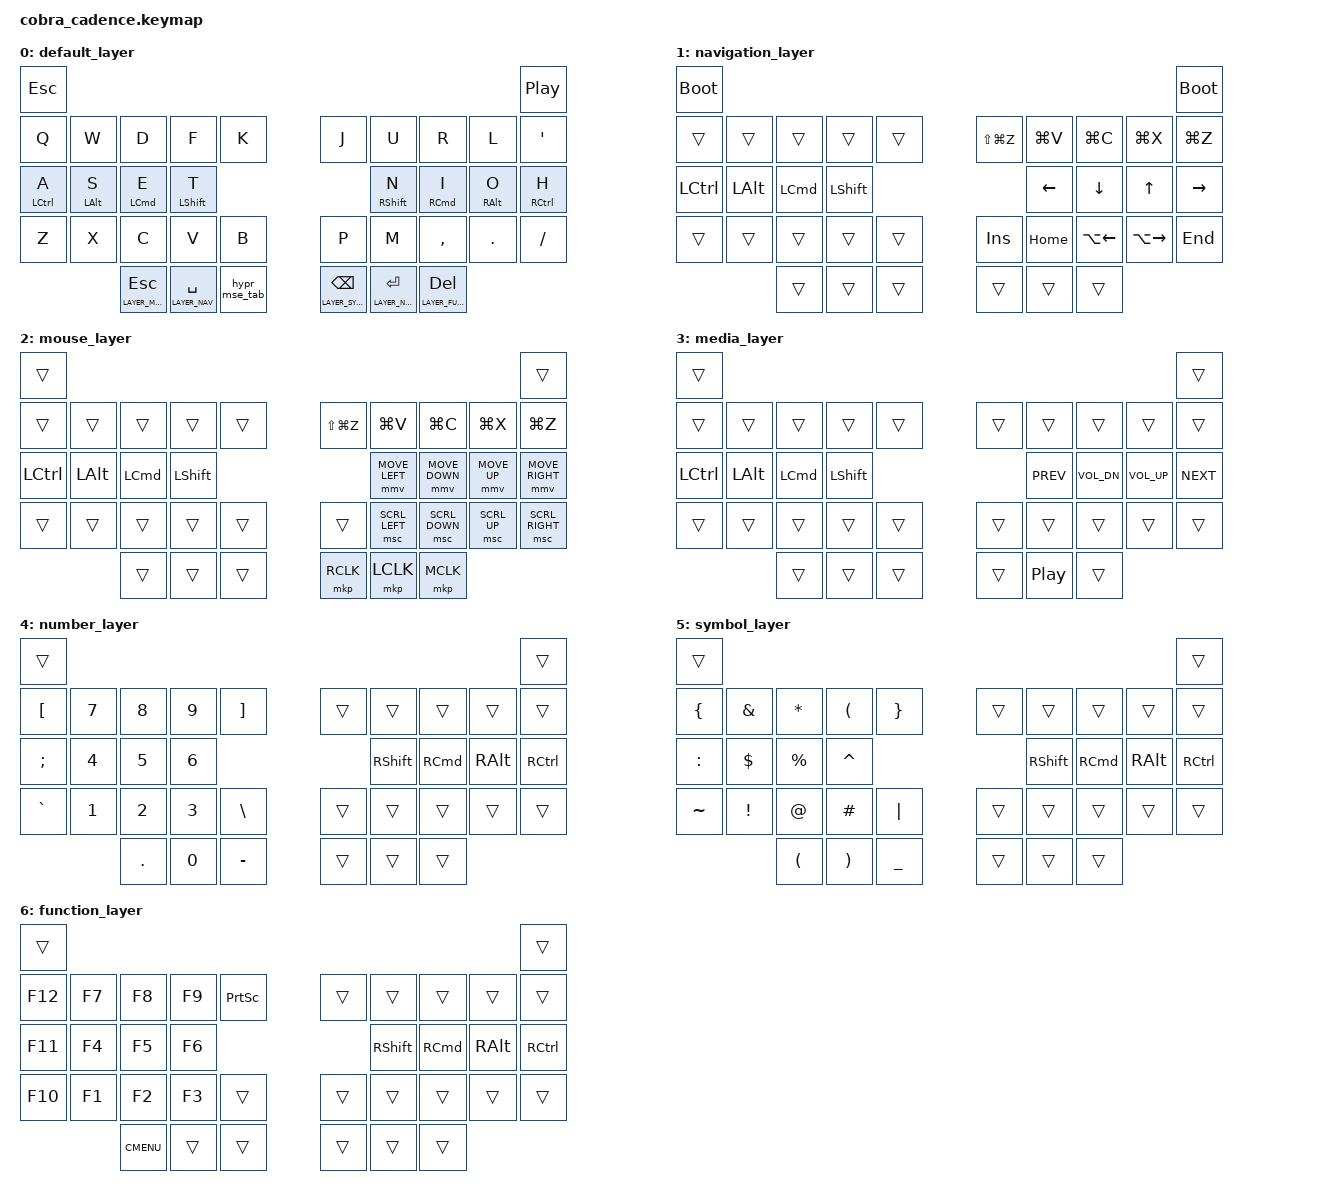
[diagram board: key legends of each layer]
/*
 * Copyright (c) 2025 Tibo Loete
 *
 * SPDX-License-Identifier: MIT
 */

#include <behaviors.dtsi>
#include <dt-bindings/zmk/keys.h>
#include <dt-bindings/zmk/pointing.h>
#include <dt-bindings/zmk/behaviors.h>

// layers
#define LAYER_BASE 0
#define LAYER_NAV 1
#define LAYER_MOUSE 2
#define LAYER_MEDIA 3
#define LAYER_NUMBER 4
#define LAYER_SYMBOL 5
#define LAYER_FUNCTION 6


// ----------------
// shorter keycodes
// ----------------

#define ______ &trans
#define HYPR LC(LS(LA(LGUI)))

// nav & clipboard
#define kp_undo &kp LG(Z)
#define kp_redo &kp LS(LG(Z))
#define kp_copy &kp LG(C)
#define kp_paste &kp LG(V)
#define kp_cut &kp LG(X)
#define kp_wrd_lft &kp LA(LEFT)
#define kp_wrd_rgt &kp LA(RIGHT)

// mouse
#define mouse_left &mmv MOVE_LEFT
#define mouse_down &mmv MOVE_DOWN
#define mouse_up &mmv MOVE_UP
#define mouse_right &mmv MOVE_RIGHT
#define scroll_left &msc SCRL_LEFT
#define scroll_down &msc SCRL_DOWN
#define scroll_up &msc SCRL_UP
#define scroll_right &msc SCRL_RIGHT

// media
#define vol_down &kp C_VOL_DN
#define vol_up &kp C_VOL_UP

// layer tap
#define lt_med_esc &lt LAYER_MEDIA ESC
#define lt_nav_spc &lt LAYER_NAV SPACE
#define lt_mse_tab &lt LAYER_MOUSE TAB
#define lt_sym_bspc &lt LAYER_SYMBOL BSPC
#define lt_num_ent &lt LAYER_NUMBER ENTER
#define lt_fun_del &lt LAYER_FUNCTION DEL

// ----------------


// Using layer taps on thumbs, having quick tap as well helps w/ repeating space/backspace
&lt { quick-tap-ms = <200>; };
&mt {
    flavor = "balanced";
    tapping-term-ms = <120>;
    require-prior-idle-ms = <120>;
    hold-while-undecided;
};

/ {
    combos {
        compatible = "zmk,combos";
        combo_G {
            //timeout-ms = <50>;
            key-positions = <6 24>;
            bindings = <&kp G>;
            layers = <LAYER_BASE>;
        };
        combo_Y {
            key-positions = <7 25>;
            bindings = <&kp Y>;
            layers = <LAYER_BASE>;
        };
        combo_CAPS {
            key-positions = <7 25>;
            bindings = <&kp CAPS>;
            layers = <LAYER_NAV>;
        };
        combo_MUTE {
            key-positions = <7 25>;
            bindings = <&kp C_MUTE>;
            layers = <LAYER_MEDIA>;
        };
        combo_EQUAL {
            key-positions = <6 24>;
            bindings = <&kp EQUAL>;
            layers = <LAYER_NUMBER>;
        };
        combo_PLUS {
            key-positions = <6 24>;
            bindings = <&kp PLUS>;
            layers = <LAYER_SYMBOL>;
        };
    };

    behaviors {
        hypr_mse_tab: hyper-mouse-tab_key {
            compatible = "zmk,behavior-tap-dance";
            #binding-cells = <0>;
            tapping-term-ms = <200>;
            bindings = <&mt HYPR TAB>, <&mo LAYER_MOUSE>;
        };
    };

    keymap {                            // comments in keymap are combos
        compatible = "zmk,keymap";

        default_layer {                 // 0
            bindings = <
                &kp ESC                                                                                                                    &kp C_PLAY_PAUSE
                &kp Q       &kp W       &kp D       &kp F       &kp K                   &kp J       &kp U       &kp R       &kp L       &kp SQT
                &mt LCTRL A &mt LALT S  &mt LCMD E  &mt LSHFT T     /*G*/             /*Y*/         &mt RSHFT N &mt RCMD I  &mt RALT O  &mt RCTRL H
                &kp Z       &kp X       &kp C       &kp V       &kp B                   &kp P       &kp M       &kp COMMA   &kp DOT     &kp SLASH
                                        lt_med_esc  lt_nav_spc  &hypr_mse_tab           lt_sym_bspc lt_num_ent  lt_fun_del
            >;
        };

        navigation_layer {              // 1
            bindings = <
                &bootloader                                                                                                             &bootloader
                ______      ______      ______      ______      ______                  kp_redo     kp_paste    kp_copy     kp_cut      kp_undo
                &kp LCTRL   &kp LALT    &kp LCMD    &kp LSHFT       /* */       /*cps_lck*/         &kp LEFT    &kp DOWN    &kp UP      &kp RIGHT
                ______      ______      ______      ______      ______                  &kp INS     &kp HOME    kp_wrd_lft  kp_wrd_rgt  &kp END
                                        ______      ______      ______                  ______      ______      ______
            >;
        };

        mouse_layer {                   // 2
            bindings = <
                ______                                                                                                                  ______
                ______      ______      ______      ______      ______                  kp_redo     kp_paste    kp_copy     kp_cut      kp_undo
                &kp LCTRL   &kp LALT    &kp LCMD    &kp LSHFT       /* */             /* */         mouse_left  mouse_down  mouse_up    mouse_right
                ______      ______      ______      ______      ______                  ______      scroll_left scroll_down scroll_up   scroll_right
                                        ______      ______      ______                  &mkp RCLK   &mkp LCLK   &mkp MCLK
            >;
        };

        media_layer {                   // 3
            bindings = <
                ______                                                                                                                  ______
                ______      ______      ______      ______      ______                  ______      ______      ______      ______      ______
                &kp LCTRL   &kp LALT    &kp LCMD    &kp LSHFT       /* */          /*mute*/         &kp C_PREV  vol_down    vol_up      &kp C_NEXT
                ______      ______      ______      ______      ______                  ______      ______      ______      ______      ______
                                        ______      ______      ______                  ______      &kp C_PP    ______
            >;
        };

        number_layer {                  // 4
            bindings = <
                ______                                                                                                                  ______
                &kp LBKT    &kp N7      &kp N8      &kp N9      &kp RBKT                ______      ______      ______      ______      ______
                &kp SEMI    &kp N4      &kp N5      &kp N6          /*+=*/            /* */         &kp RSHFT   &kp RCMD    &kp RALT    &kp RCTRL
                &kp GRAVE   &kp N1      &kp N2      &kp N3      &kp BSLH                ______      ______      ______      ______      ______
                                        &kp DOT     &kp N0      &kp MINUS               ______      ______      ______
            >;
        };

        symbol_layer {                  // 5
            bindings = <
                ______                                                                                                                  ______
                &kp LBRC    &kp AMPS    &kp STAR    &kp LPAR    &kp RBRC                ______      ______      ______      ______      ______
                &kp COLON   &kp DLLR    &kp PRCNT   &kp CARET       /*+*/             /* */         &kp RSHFT   &kp RCMD    &kp RALT    &kp RCTRL
                &kp TILDE   &kp EXCL    &kp AT      &kp HASH    &kp PIPE                ______      ______      ______      ______      ______
                                        &kp LPAR    &kp RPAR    &kp UNDER               ______      ______      ______
            >;
        };

        function_layer {                // 6
            bindings = <
                ______                                                                                                                  ______
                &kp F12     &kp F7      &kp F8      &kp F9      &kp PSCRN               ______      ______      ______      ______      ______
                &kp F11     &kp F4      &kp F5      &kp F6          /* */             /* */         &kp RSHFT   &kp RCMD    &kp RALT    &kp RCTRL
                &kp F10     &kp F1      &kp F2      &kp F3      ______                  ______      ______      ______      ______      ______
                                        &kp K_CMENU ______      ______                  ______      ______      ______
            >;
        };

        /*
        empty_layer {                   // x
            bindings = <
                ______                                                                                                                  ______
                ______      ______      ______      ______      ______                  ______      ______      ______      ______      ______
                ______      ______      ______      ______          /-             /-         ______      ______      ______      ______
                ______      ______      ______      ______      ______                  ______      ______      ______      ______      ______
                                        ______      ______      ______                  ______      ______      ______
            >;
        };
        */
    };
 };
